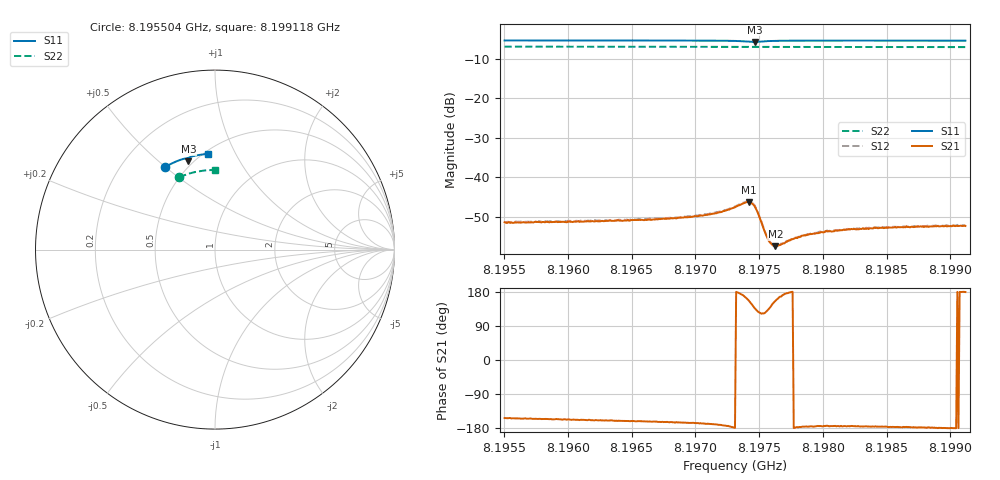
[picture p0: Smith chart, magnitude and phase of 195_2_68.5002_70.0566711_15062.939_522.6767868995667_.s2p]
#  HZ  S  RI  R  50.00
! Rohde & Schwarz Vector Network Analyzer
! Rohde-Schwarz,ZNB20-2Port,1311601062101988,3.16
! Created: UTC 3/20/2024, 5:12:24 PM
! freq[Hz]  re:S11  im:S11  re:S21  im:S21  re:S12  im:S12  re:S22  im:S22
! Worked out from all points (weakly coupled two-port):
!   401 points, 8.195504 GHz to 8.199118 GHz, reference 50 ohm
!   highest |S21| = -46.22 dB at 8.197419 GHz (marker M1); lowest = -57.4 dB at 8.197627 GHz (marker M2)
!   lowest |S11| = -5.8 dB at 8.197465 GHz (marker M3), VSWR 3.12, Z = 23.6 + j31.6 ohm
!   |S11| at or under -10 dB: nowhere
!   |S22| runs from -7.1 to -7.0 dB; largest |S21 - S12| = 0.00024
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8.1955036e9  -0.2786 0.4596  -0.00241 -0.00122  -0.00247 -0.00113  -0.1983 0.4027
8.1961091e9  -0.2405 0.4801  -0.00254 -0.00104  -0.00263 -0.000958  -0.1668 0.4156
8.1967145e9  -0.2004 0.4973  -0.00284 -0.000855  -0.00293 -0.000755  -0.1342 0.4264
8.197076e9  -0.1742 0.5058  -0.00326 -0.000693  -0.00339 -0.000551  -0.1144 0.4313
8.1971935e9  -0.1643 0.5078  -0.00358 -0.00056  -0.00367 -0.000452  -0.1079 0.4328
8.1973109e9  -0.1526 0.5077  -0.00418 -5.99e-05  -0.00428 7.1e-05  -0.1012 0.434
8.1973832e9  -0.1447 0.503  -0.00463 0.000968  -0.00467 0.00118  -0.0972 0.4346
8.1974194e9  -0.1432 0.4977  -0.00449 0.00194  -0.00449 0.00216  -0.0952 0.435
8.1974465e9  -0.1452 0.4938  -0.0038 0.00264  -0.0038 0.00285  -0.094 0.435
8.1974646e9  -0.1481 0.4924  -0.00315 0.00295  -0.00311 0.00316  -0.0931 0.4354
8.1974917e9  -0.1526 0.4936  -0.00212 0.00279  -0.00207 0.00291  -0.0916 0.4355
8.1975459e9  -0.1551 0.5015  -0.00114 0.00167  -0.00113 0.00174  -0.0887 0.4361
8.197573e9  -0.1538 0.5051  -0.0011 0.00116  -0.00106 0.00127  -0.0873 0.4368
8.1976001e9  -0.1517 0.5076  -0.00117 0.000802  -0.00114 0.000891  -0.0857 0.4369
8.1976272e9  -0.1495 0.5099  -0.00123 0.000556  -0.00124 0.00061  -0.0843 0.4372
8.1976634e9  -0.1463 0.512  -0.00136 0.000315  -0.00134 0.000399  -0.0823 0.4376
8.1977718e9  -0.1372 0.5163  -0.00167 -1.76e-05  -0.00167 5.91e-05  -0.0761 0.4387
8.1979164e9  -0.1258 0.5198  -0.00191 -0.00015  -0.00197 -8.49e-05  -0.068 0.4396
8.1979887e9  -0.1203 0.5211  -0.00202 -0.000191  -0.00205 -9.06e-05  -0.0639 0.4402
8.1982056e9  -0.1043 0.5246  -0.00221 -0.0002  -0.00218 -0.00011  -0.0517 0.4414
8.1985218e9  -0.0817 0.5284  -0.00231 -0.000134  -0.00234 -2.58e-05  -0.0338 0.4425
8.1991183e9  -0.0391 0.5327  -0.00242 2.93e-05  -0.00248 0.000174  0.000206 0.4428
